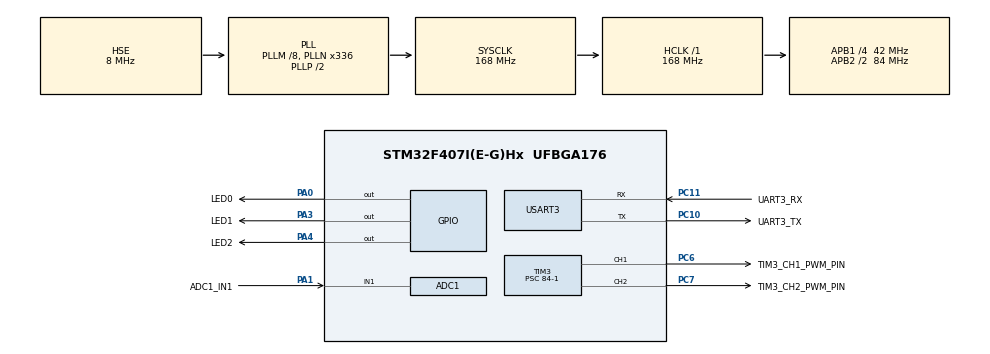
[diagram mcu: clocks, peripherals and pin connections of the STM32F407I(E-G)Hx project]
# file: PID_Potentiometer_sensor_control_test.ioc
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ADC1.Channel-0\#ChannelRegularConversion=ADC_CHANNEL_1
ADC1.NbrOfConversionFlag=1
ADC1.Rank-0\#ChannelRegularConversion=1
ADC1.SamplingTime-0\#ChannelRegularConversion=ADC_SAMPLETIME_3CYCLES
ADC1.master=1
Mcu.Family=STM32F4
Mcu.Name=STM32F407I(E-G)Hx
Mcu.Package=UFBGA176
NVIC.ADC_IRQn=true\:0\:0\:false\:false\:true\:true\:true
NVIC.PriorityGroup=NVIC_PRIORITYGROUP_4
NVIC.TIM3_IRQn=true\:0\:0\:false\:false\:true\:true\:true
NVIC.TIM6_DAC_IRQn=true\:0\:0\:false\:false\:true\:true\:true
NVIC.USART3_IRQn=true\:0\:0\:false\:false\:true\:true\:true
PA0-WKUP.GPIO_Label=LED0
PA0-WKUP.Signal=GPIO_Output
PA1.GPIO_Label=ADC1_IN1
PA1.Signal=ADCx_IN1
PA13.Mode=Serial_Wire
PA13.Signal=SYS_JTMS-SWDIO
PA14.Mode=Serial_Wire
PA14.Signal=SYS_JTCK-SWCLK
PA3.GPIO_Label=LED1
PA3.Signal=GPIO_Output
PA4.GPIO_Label=LED2
PA4.Signal=GPIO_Output
PC10.GPIO_Label=UART3_TX
PC10.Mode=Asynchronous
PC10.Signal=USART3_TX
PC11.GPIO_Label=UART3_RX
PC11.Mode=Asynchronous
PC11.Signal=USART3_RX
PC14-OSC32_IN.Mode=LSE-External-Oscillator
PC14-OSC32_IN.Signal=RCC_OSC32_IN
PC15-OSC32_OUT.Mode=LSE-External-Oscillator
PC15-OSC32_OUT.Signal=RCC_OSC32_OUT
PC6.GPIO_Label=TIM3_CH1_PWM_PIN
PC6.Signal=S_TIM3_CH1
PC7.GPIO_Label=TIM3_CH2_PWM_PIN
PC7.Signal=S_TIM3_CH2
PH0-OSC_IN.Mode=HSE-External-Oscillator
PH0-OSC_IN.Signal=RCC_OSC_IN
PH1-OSC_OUT.Mode=HSE-External-Oscillator
PH1-OSC_OUT.Signal=RCC_OSC_OUT
ProjectManager.HeapSize=0x200
ProjectManager.StackSize=0x400
ProjectManager.TargetToolchain=EWARM V8.32
RCC.48MHZClocksFreq_Value=84000000
RCC.AHBFreq_Value=168000000
RCC.APB1CLKDivider=RCC_HCLK_DIV4
RCC.APB1Freq_Value=42000000
RCC.APB1TimFreq_Value=84000000
RCC.APB2CLKDivider=RCC_HCLK_DIV2
RCC.APB2Freq_Value=84000000
RCC.APB2TimFreq_Value=168000000
RCC.CortexFreq_Value=168000000
RCC.HCLKFreq_Value=168000000
RCC.HSE_VALUE=8000000
RCC.HSI_VALUE=16000000
RCC.PLLM=8
RCC.PLLN=336
RCC.PLLSourceVirtual=RCC_PLLSOURCE_HSE
RCC.SYSCLKFreq_VALUE=168000000
RCC.SYSCLKSource=RCC_SYSCLKSOURCE_PLLCLK
RCC.VCOOutputFreq_Value=336000000
SH.ADCx_IN1.0=ADC1_IN1,IN1
SH.S_TIM3_CH1.0=TIM3_CH1,PWM Generation1 CH1
SH.S_TIM3_CH2.0=TIM3_CH2,PWM Generation2 CH2
TIM3.Channel-PWM\ Generation1\ CH1=TIM_CHANNEL_1
TIM3.Channel-PWM\ Generation2\ CH2=TIM_CHANNEL_2
TIM3.Period=1000-1
TIM3.Prescaler=84-1
TIM6.AutoReloadPreload=TIM_AUTORELOAD_PRELOAD_ENABLE
TIM6.Period=5000-1
TIM6.Prescaler=8400-1
USART3.VirtualMode=VM_ASYNC
VP_TIM6_VS_ClockSourceINT.Mode=Enable_Timer
board=custom

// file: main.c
/* USER CODE BEGIN Header */
/**
  ******************************************************************************
  * @file           : main.c
  * @brief          : Main program body
  ******************************************************************************
  * @attention
  *
  * <h2><center>&copy; Copyright (c) 2020 STMicroelectronics.
  * All rights reserved.</center></h2>
  *
  * This software component is licensed by ST under BSD 3-Clause license,
  * the "License"; You may not use this file except in compliance with the
  * License. You may obtain a copy of the License at:
  *                        opensource.org/licenses/BSD-3-Clause
  *
  ******************************************************************************
  */
/* USER CODE END Header */
#include "main.h"

/* USER CODE BEGIN Includes */
#include <string.h>
/* USER CODE END Includes */

/* USER CODE BEGIN PD */
uint8_t Uart3_RX=0;
int16_t Motor_Position_ADC_Value[100]={0,};

int16_t PC_TX_to_MCU_HexString_Flag=0;
/* USER CODE END PD */

/* USER CODE BEGIN PM */
#define MAX(a, b) (((a) > (b)) ? (b):(a))
#define MIN(a, b) (((a) < (b)) ? (b):(a))
/* USER CODE END PM */

ADC_HandleTypeDef hadc1;

TIM_HandleTypeDef htim3;
TIM_HandleTypeDef htim6;

UART_HandleTypeDef huart3;

/* USER CODE BEGIN PV */
#if 1  // printf 사용 함수
#include <stdio.h>
#define PUTCHAR_PROTOTYPE int fputc(int ch, FILE *f)  //for printf

PUTCHAR_PROTOTYPE
{
  /* Place your implementation of fputc here */
  /* e.g. write a character to the USART2 and Loop until the end of transmission */
  HAL_UART_Transmit(&huart3, (uint8_t *)&ch, 1, 0xFFFF);

  return ch;
}
#endif
void LED_OnOff(){
    HAL_GPIO_WritePin(GPIOA, LED1_Pin|LED2_Pin ,  GPIO_PIN_SET);
    HAL_Delay(1000);
    HAL_GPIO_WritePin(GPIOA, LED1_Pin|LED2_Pin ,  GPIO_PIN_RESET);
    HAL_Delay(1000);
}
void Timer3_CH1_PWM(){
HAL_TIM_PWM_Start(&htim3, TIM_CHANNEL_1 );
//htim3.Instance->CCR1=500;  다 됨
__HAL_TIM_SET_COMPARE(&htim3,TIM_CHANNEL_1,1);  //TIM3->CCR1=0;
HAL_Delay(250);
__HAL_TIM_SET_COMPARE(&htim3,TIM_CHANNEL_1,250);  // TIM3->CCR1=500;
HAL_Delay(250);
__HAL_TIM_SET_COMPARE(&htim3,TIM_CHANNEL_1,500);  // TIM3->CCR1=500;
HAL_Delay(250);
__HAL_TIM_SET_COMPARE(&htim3,TIM_CHANNEL_1,750);  // TIM3->CCR1=500;
HAL_Delay(250);
__HAL_TIM_SET_COMPARE(&htim3,TIM_CHANNEL_1,1000);  // TIM3->CCR1=1000;
HAL_Delay(250);
}
void Timer3_CH2_PWM(){
HAL_TIM_PWM_Start(&htim3, TIM_CHANNEL_2 );
 //htim3.Instance->CCR2=500;  다 됨
__HAL_TIM_SET_COMPARE(&htim3,TIM_CHANNEL_2,1);  //TIM3->CCR2=0;
HAL_Delay(250);
__HAL_TIM_SET_COMPARE(&htim3,TIM_CHANNEL_2,250);  // TIM3->CCR2=500;
HAL_Delay(250);
__HAL_TIM_SET_COMPARE(&htim3,TIM_CHANNEL_2,500);  // TIM3->CCR2=500;
HAL_Delay(250);
__HAL_TIM_SET_COMPARE(&htim3,TIM_CHANNEL_2,750);  // TIM3->CCR2=500;
HAL_Delay(250);
__HAL_TIM_SET_COMPARE(&htim3,TIM_CHANNEL_2,1000);  // TIM3->CCR2=1000;
HAL_Delay(250);
}
void Motor_PWM_CW_Control(){// 정방향
HAL_TIM_PWM_Start(&htim3, TIM_CHANNEL_1 );
HAL_TIM_PWM_Start(&htim3, TIM_CHANNEL_2 );

__HAL_TIM_SET_COMPARE(&htim3,TIM_CHANNEL_1,1);  //TIM3->CCR1=0;
__HAL_TIM_SET_COMPARE(&htim3,TIM_CHANNEL_2,400);  // TIM3->CCR2=500;
//HAL_Delay(10);
}
void Motor_PWM_CCW_Control(){// 역방향
HAL_TIM_PWM_Start(&htim3, TIM_CHANNEL_1 );
HAL_TIM_PWM_Start(&htim3, TIM_CHANNEL_2 );
__HAL_TIM_SET_COMPARE(&htim3,TIM_CHANNEL_1,400);  //TIM3->CCR1=0;
__HAL_TIM_SET_COMPARE(&htim3,TIM_CHANNEL_2,1);  // TIM3->CCR2=500;
//HAL_Delay(10);
}
void Uart3_TxRx(){
    HAL_UART_Receive(&huart3,&Uart3_RX, 1, 10);
    HAL_UART_Transmit(&huart3, &Uart3_RX, 1,  10);
    //__HAL_UART_GET_FLAG
}
void ADC1_polling(){
    // char buffer[255];
     uint16_t ADC_data;
     //HAL_Delay(100);
    // for(int i=1; i<150; i++){
    HAL_ADC_Start(&hadc1);
    ADC_data = HAL_ADC_GetValue(&hadc1);
   // sprintf(buffer,"%d \r\n", ADC_data);
   // HAL_UART_Transmit(&huart3,(uint8_t *)buffer,strlen(buffer),100);
    printf ( "\n \r AD val == % d", ADC_data);
   // HAL_Delay(100);
   // }
}
void ADC1_polling_Motor_Position_Value(){
   HAL_ADC_Start(&hadc1);
   /*for(int i=1; i<10; i++){
   Motor_Position_ADC_Value[i] = HAL_ADC_GetValue(&hadc1);
   }*/
   Motor_Position_ADC_Value[0] = HAL_ADC_GetValue(&hadc1);
  // printf( "\n \r AD val == % d", Motor_Position_ADC_Value[0]);
}
void HAL_TIM_PeriodElapsedCallback(TIM_HandleTypeDef *htim){
  if(htim->Instance == TIM6){
     // HAL_GPIO_TogglePin(GPIOA, GPIO_PIN_3);
      ADC1_polling();
  }
}
void Motor_Position_Control(int16_t Position_Value){
  ADC1_polling_Motor_Position_Value();
  if(Position_Value>3800){
  Position_Value=3800;
  }
  else if(Position_Value<300){
  Position_Value=300;
 }
  //Position_Value=Motor_Position_ADC_Value[0];
  /*int Motor_Dir;
  Motor_Dir= Position_Value > Motor_Position_ADC_Value[0] ? 1:2;  // CW:1 ,CCW:2
  if(Motor_Dir==1){
  Motor_PWM_CW_Control();// 정방향
  }
  else if(Motor_Dir==2){
  Motor_PWM_CCW_Control();// 역방향
  }*/
  int16_t data=Motor_Position_ADC_Value[0];
  if( (Position_Value+100)<data ){
  HAL_GPIO_WritePin(GPIOA, GPIO_PIN_4,GPIO_PIN_RESET);
  Motor_PWM_CW_Control();// 정방향
  }
  else if((Position_Value-100)>data ){
  HAL_GPIO_WritePin(GPIOA, GPIO_PIN_4,GPIO_PIN_RESET);
  Motor_PWM_CCW_Control();// 역방향
  }
  else{
  HAL_TIM_PWM_Stop(&htim3, TIM_CHANNEL_1);
  HAL_TIM_PWM_Stop(&htim3, TIM_CHANNEL_2 );
  HAL_GPIO_WritePin(GPIOA, GPIO_PIN_4,GPIO_PIN_SET);
  HAL_GPIO_TogglePin(GPIOA, GPIO_PIN_3);
  PC_TX_to_MCU_HexString_Flag=0;
   //printf( "\n \r 도달 도달");
  //HAL_Delay(100);
  }
}

//int16_t PC_TX_to_MCU_HexString_Flag=0;
int16_t PC_TX_to_MCU_HexString(uint8_t *data){
  int16_t result;
  int num[4];
  //char string[4]={0,};
  for(int i=0; i<4; i++){
    if('0'<=data[i] && data[i]<='9') {num[i]=data[i]-'0';}
    else if('A'<=data[i] && data[i]<='F'){num[i]=data[i]-'A'+10;}
    else if('a'<=data[i] && data[i]<='f'){num[i]=data[i]-'a'+10;}
    else {num[i]=0;  }}//printf("\n \r알맞은 데이터를 넣어 주세요.\n \r");
  /*
  result = num[0]*0x1000 + num[1]*0x100 + num[2]*0x10 + num[3]*0x1;
  sprintf(string, "%04X 입니다.\n" , (uint16_t)result);*/ // 16진수 표현
  result = num[0]*1000 + num[1]*100 + num[2]*10 + num[3]*1;
  //sprintf(string, "%04d 입니다.\n" , (uint16_t)result);
  //HAL_UART_Transmit(&huart3, (uint8_t *)string, strlen(string),  10);
  PC_TX_to_MCU_HexString_Flag=1;
  return result;  //result
}

uint8_t data[10]={0,}; //pc에서 들어온 data들을 저장하기 위한 변수
int8_t buffer_count=0;
void HAL_UART_RxCpltCallback(UART_HandleTypeDef *huart){
  if(huart->Instance ==USART3){
    data[buffer_count] = Uart3_RX;
    buffer_count=buffer_count+1;
   // printf( "\n \r 도달 도달");
    if(buffer_count>3){
      PC_TX_to_MCU_HexString((uint8_t*)data);
      buffer_count=0;
    }
    HAL_UART_Receive_IT(&huart3,&Uart3_RX, 1);  // 또 한번 초기화 해줘야 함, 그래야 인터럽트가 끝나고 인터럽트가 오면 실행함  // 플래그 또한 초기화 해줌
  }
}
/* USER CODE END PV */

void SystemClock_Config(void);
static void MX_GPIO_Init(void);
static void MX_ADC1_Init(void);
static void MX_TIM3_Init(void);
static void MX_USART3_UART_Init(void);
static void MX_TIM6_Init(void);

int main(void)
{

  /* MCU Configuration--------------------------------------------------------*/

  /* Reset of all peripherals, Initializes the Flash interface and the Systick. */
  HAL_Init();

  /* Configure the system clock */
  SystemClock_Config();

  /* Initialize all configured peripherals */
  MX_GPIO_Init();
  MX_ADC1_Init();
  MX_TIM3_Init();
  MX_USART3_UART_Init();
  MX_TIM6_Init();
  /* USER CODE BEGIN 2 */
  //HAL_ADC_Start_IT(&hadc1);
  HAL_UART_Receive_IT(&huart3,&Uart3_RX, 1);  // 한번 초기화 해줘야함,  // 플래그 또한 초기화 해줌
  printf( "하이 하이 \n \r");
  HAL_TIM_Base_Start_IT(&htim6);  // 인터럽트용 타이 500ms

  /* USER CODE END 2 */

  /* Infinite loop */
  while (1)
  {

    /* USER CODE BEGIN 3 */

    //LED_OnOff();
    //ADC1_polling();
    //Timer3_CH1_PWM();
    //Motor_PWM_CW_Control();
    //Motor_PWM_CCW_Control();

    if(PC_TX_to_MCU_HexString_Flag==1){
      Motor_Position_Control(PC_TX_to_MCU_HexString(data));
   // PC_TX_to_MCU_HexString_Flag=0;
  //  LED_OnOff();
    }
    //Motor_Position_Control(300);
  }
  /* USER CODE END 3 */
}

void SystemClock_Config(void)
{
  RCC_OscInitTypeDef RCC_OscInitStruct = {0};
  RCC_ClkInitTypeDef RCC_ClkInitStruct = {0};

  /** Configure the main internal regulator output voltage
  */
  __HAL_RCC_PWR_CLK_ENABLE();
  __HAL_PWR_VOLTAGESCALING_CONFIG(PWR_REGULATOR_VOLTAGE_SCALE1);
  /** Initializes the RCC Oscillators according to the specified parameters
  * in the RCC_OscInitTypeDef structure.
  */
  RCC_OscInitStruct.OscillatorType = RCC_OSCILLATORTYPE_HSE;
  RCC_OscInitStruct.HSEState = RCC_HSE_ON;
  RCC_OscInitStruct.PLL.PLLState = RCC_PLL_ON;
  RCC_OscInitStruct.PLL.PLLSource = RCC_PLLSOURCE_HSE;
  RCC_OscInitStruct.PLL.PLLM = 8;
  RCC_OscInitStruct.PLL.PLLN = 336;
  RCC_OscInitStruct.PLL.PLLP = RCC_PLLP_DIV2;
  RCC_OscInitStruct.PLL.PLLQ = 4;
  if (HAL_RCC_OscConfig(&RCC_OscInitStruct) != HAL_OK)
  {
    Error_Handler();
  }
  /** Initializes the CPU, AHB and APB buses clocks
  */
  RCC_ClkInitStruct.ClockType = RCC_CLOCKTYPE_HCLK|RCC_CLOCKTYPE_SYSCLK
                              |RCC_CLOCKTYPE_PCLK1|RCC_CLOCKTYPE_PCLK2;
  RCC_ClkInitStruct.SYSCLKSource = RCC_SYSCLKSOURCE_PLLCLK;
  RCC_ClkInitStruct.AHBCLKDivider = RCC_SYSCLK_DIV1;
  RCC_ClkInitStruct.APB1CLKDivider = RCC_HCLK_DIV4;
  RCC_ClkInitStruct.APB2CLKDivider = RCC_HCLK_DIV2;

  if (HAL_RCC_ClockConfig(&RCC_ClkInitStruct, FLASH_LATENCY_5) != HAL_OK)
  {
    Error_Handler();
  }
}

static void MX_ADC1_Init(void)
{

  ADC_ChannelConfTypeDef sConfig = {0};

  /** Configure the global features of the ADC (Clock, Resolution, Data Alignment and number of conversion)
  */
  hadc1.Instance = ADC1;
  hadc1.Init.ClockPrescaler = ADC_CLOCK_SYNC_PCLK_DIV4;
  hadc1.Init.Resolution = ADC_RESOLUTION_12B;
  hadc1.Init.ScanConvMode = DISABLE;
  hadc1.Init.ContinuousConvMode = DISABLE;
  hadc1.Init.DiscontinuousConvMode = DISABLE;
  hadc1.Init.ExternalTrigConvEdge = ADC_EXTERNALTRIGCONVEDGE_NONE;
  hadc1.Init.ExternalTrigConv = ADC_SOFTWARE_START;
  hadc1.Init.DataAlign = ADC_DATAALIGN_RIGHT;
  hadc1.Init.NbrOfConversion = 1;
  hadc1.Init.DMAContinuousRequests = DISABLE;
  hadc1.Init.EOCSelection = ADC_EOC_SINGLE_CONV;
  if (HAL_ADC_Init(&hadc1) != HAL_OK)
  {
    Error_Handler();
  }
  /** Configure for the selected ADC regular channel its corresponding rank in the sequencer and its sample time.
  */
  sConfig.Channel = ADC_CHANNEL_1;
  sConfig.Rank = 1;
  sConfig.SamplingTime = ADC_SAMPLETIME_3CYCLES;
  if (HAL_ADC_ConfigChannel(&hadc1, &sConfig) != HAL_OK)
  {
    Error_Handler();
  }

}

static void MX_TIM3_Init(void)
{

  TIM_MasterConfigTypeDef sMasterConfig = {0};
  TIM_OC_InitTypeDef sConfigOC = {0};

  htim3.Instance = TIM3;
  htim3.Init.Prescaler = 84-1;
  htim3.Init.CounterMode = TIM_COUNTERMODE_UP;
  htim3.Init.Period = 1000-1;
  htim3.Init.ClockDivision = TIM_CLOCKDIVISION_DIV1;
  htim3.Init.AutoReloadPreload = TIM_AUTORELOAD_PRELOAD_DISABLE;
  if (HAL_TIM_PWM_Init(&htim3) != HAL_OK)
  {
    Error_Handler();
  }
  sMasterConfig.MasterOutputTrigger = TIM_TRGO_RESET;
  sMasterConfig.MasterSlaveMode = TIM_MASTERSLAVEMODE_DISABLE;
  if (HAL_TIMEx_MasterConfigSynchronization(&htim3, &sMasterConfig) != HAL_OK)
  {
    Error_Handler();
  }
  sConfigOC.OCMode = TIM_OCMODE_PWM1;
  sConfigOC.Pulse = 0;
  sConfigOC.OCPolarity = TIM_OCPOLARITY_HIGH;
  sConfigOC.OCFastMode = TIM_OCFAST_DISABLE;
  if (HAL_TIM_PWM_ConfigChannel(&htim3, &sConfigOC, TIM_CHANNEL_1) != HAL_OK)
  {
    Error_Handler();
  }
  if (HAL_TIM_PWM_ConfigChannel(&htim3, &sConfigOC, TIM_CHANNEL_2) != HAL_OK)
  {
    Error_Handler();
  }
  HAL_TIM_MspPostInit(&htim3);

}

static void MX_TIM6_Init(void)
{

  TIM_MasterConfigTypeDef sMasterConfig = {0};

  htim6.Instance = TIM6;
  htim6.Init.Prescaler = 8400-1;
  htim6.Init.CounterMode = TIM_COUNTERMODE_UP;
  htim6.Init.Period = 5000-1;
  htim6.Init.AutoReloadPreload = TIM_AUTORELOAD_PRELOAD_ENABLE;
  if (HAL_TIM_Base_Init(&htim6) != HAL_OK)
  {
    Error_Handler();
  }
  sMasterConfig.MasterOutputTrigger = TIM_TRGO_RESET;
  sMasterConfig.MasterSlaveMode = TIM_MASTERSLAVEMODE_DISABLE;
  if (HAL_TIMEx_MasterConfigSynchronization(&htim6, &sMasterConfig) != HAL_OK)
  {
    Error_Handler();
  }

}

static void MX_USART3_UART_Init(void)
{

  huart3.Instance = USART3;
  huart3.Init.BaudRate = 115200;
  huart3.Init.WordLength = UART_WORDLENGTH_8B;
  huart3.Init.StopBits = UART_STOPBITS_1;
  huart3.Init.Parity = UART_PARITY_NONE;
  huart3.Init.Mode = UART_MODE_TX_RX;
  huart3.Init.HwFlowCtl = UART_HWCONTROL_NONE;
  huart3.Init.OverSampling = UART_OVERSAMPLING_16;
  if (HAL_UART_Init(&huart3) != HAL_OK)
  {
    Error_Handler();
  }

}

static void MX_GPIO_Init(void)
{
  GPIO_InitTypeDef GPIO_InitStruct = {0};

  /* GPIO Ports Clock Enable */
  __HAL_RCC_GPIOA_CLK_ENABLE();
  __HAL_RCC_GPIOC_CLK_ENABLE();
  __HAL_RCC_GPIOH_CLK_ENABLE();

  /*Configure GPIO pin Output Level */
  HAL_GPIO_WritePin(GPIOA, LED0_Pin|LED2_Pin|LED1_Pin, GPIO_PIN_RESET);

  /*Configure GPIO pins : LED0_Pin LED2_Pin LED1_Pin */
  GPIO_InitStruct.Pin = LED0_Pin|LED2_Pin|LED1_Pin;
  GPIO_InitStruct.Mode = GPIO_MODE_OUTPUT_PP;
  GPIO_InitStruct.Pull = GPIO_NOPULL;
  GPIO_InitStruct.Speed = GPIO_SPEED_FREQ_LOW;
  HAL_GPIO_Init(GPIOA, &GPIO_InitStruct);

}

void Error_Handler(void)
{
}

/************************ (C) COPYRIGHT STMicroelectronics *****END OF FILE****/
